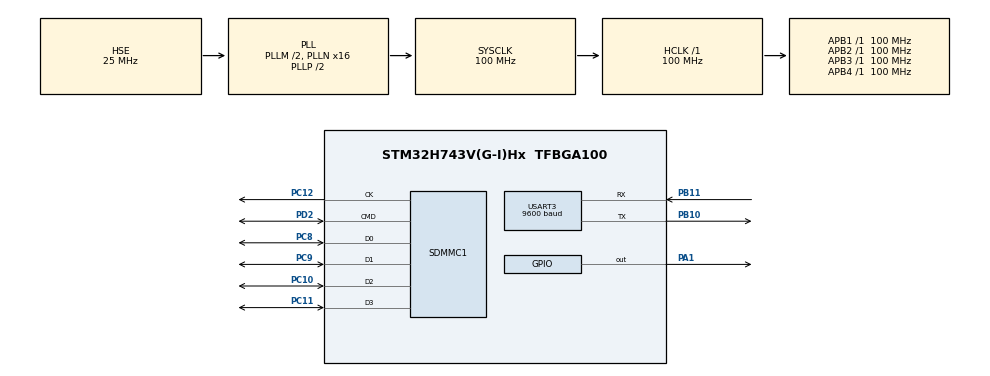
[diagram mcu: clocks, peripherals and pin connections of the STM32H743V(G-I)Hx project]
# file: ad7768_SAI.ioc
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FATFS._MAX_SS=4096
FATFS._USE_LFN=2
Mcu.Family=STM32H7
Mcu.Name=STM32H743V(G-I)Hx
Mcu.Package=TFBGA100
NVIC.PriorityGroup=NVIC_PRIORITYGROUP_4
PA1.Signal=GPIO_Output
PA13\ (JTMS/SWDIO).Mode=Serial_Wire
PA13\ (JTMS/SWDIO).Signal=DEBUG_JTMS-SWDIO
PA14\ (JTCK/SWCLK).Mode=Serial_Wire
PA14\ (JTCK/SWCLK).Signal=DEBUG_JTCK-SWCLK
PB10.Mode=Asynchronous
PB10.Signal=USART3_TX
PB11.Mode=Asynchronous
PB11.Signal=USART3_RX
PC10.Mode=SD_4_bits_Wide_bus
PC10.Signal=SDMMC1_D2
PC11.Mode=SD_4_bits_Wide_bus
PC11.Signal=SDMMC1_D3
PC12.Mode=SD_4_bits_Wide_bus
PC12.Signal=SDMMC1_CK
PC8.Mode=SD_4_bits_Wide_bus
PC8.Signal=SDMMC1_D0
PC9.Mode=SD_4_bits_Wide_bus
PC9.Signal=SDMMC1_D1
PD2.Mode=SD_4_bits_Wide_bus
PD2.Signal=SDMMC1_CMD
PH0-OSC_IN\ (PH0).Mode=HSE-External-Oscillator
PH0-OSC_IN\ (PH0).Signal=RCC_OSC_IN
PH1-OSC_OUT\ (PH1).Mode=HSE-External-Oscillator
PH1-OSC_OUT\ (PH1).Signal=RCC_OSC_OUT
ProjectManager.HeapSize=0x200
ProjectManager.StackSize=0x400
ProjectManager.TargetToolchain=MDK-ARM V5.32
RCC.ADCFreq_Value=50390625
RCC.APB1Freq_Value=100000000
RCC.APB2Freq_Value=100000000
RCC.APB3Freq_Value=100000000
RCC.APB4Freq_Value=100000000
RCC.CortexFreq_Value=100000000
RCC.DIVM1=2
RCC.DIVM3=36
RCC.DIVN1=16
RCC.DIVQ1=25
RCC.DIVR1=8
RCC.HCLKFreq_Value=100000000
RCC.I2C123CLockSelection=RCC_I2C123CLKSOURCE_CSI
RCC.PLL2FRACN=0
RCC.PLL2_VCI_Range-AdvancedSettings=RCC_PLL2VCIRANGE_0
RCC.PLL2_VCO_SEL-AdvancedSettings=RCC_PLL2VCOMEDIUM
RCC.PLL3FRACN=0
RCC.PLLFRACN=0
RCC.PLLSourceVirtual=RCC_PLLSOURCE_HSE
RCC.SYSCLKFreq_VALUE=100000000
RCC.SYSCLKSource=RCC_SYSCLKSOURCE_PLLCLK
RCC.Spi45ClockSelection=RCC_SPI45CLKSOURCE_HSE
RCC.USART234578CLockSelection=RCC_USART234578CLKSOURCE_CSI
RCC.USBFreq_Value=8000000
SDMMC1.ClockDiv=8
USART3.BaudRate=9600
USART3.VirtualMode-Asynchronous=VM_ASYNC
VP_FATFS_VS_SDIO.Mode=SDIO
board=custom

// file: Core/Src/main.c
/* USER CODE BEGIN Header */
/**
  ******************************************************************************
  * @file           : main.c
  * @brief          : Main program body
  ******************************************************************************
  * @attention
  *
  * Copyright (c) 2024 STMicroelectronics.
  * All rights reserved.
  *
  * This software is licensed under terms that can be found in the LICENSE file
  * in the root directory of this software component.
  * If no LICENSE file comes with this software, it is provided AS-IS.
  *
  ******************************************************************************
  */
/* USER CODE END Header */
#include "main.h"
#include "fatfs.h"

/* USER CODE BEGIN Includes */
#include "stdio.h"
#include "string.h"
/* USER CODE END Includes */

SD_HandleTypeDef hsd1;

UART_HandleTypeDef huart3;

void SystemClock_Config(void);
static void MX_GPIO_Init(void);
static void MX_SDMMC1_SD_Init(void);
static void MX_USART3_UART_Init(void);

/* USER CODE BEGIN 0 */
char TxBuffer[250];
FIL Fil;
    FRESULT FR_Status,Open_Status;
    FATFS *FS_Ptr;
    UINT RWC, WWC; // Read/Write Word Counter
    DWORD FreeClusters;
    uint32_t TotalSize, FreeSpace;
    char RW_Buffer[250];
static void SDIO_SDCard_Test(void)
{

    do
    {
        //------------------[ Mount The SD Card ]--------------------
        FR_Status = f_mount(&SDFatFS,SDPath, 1);
        if (FR_Status != FR_OK)
        {
            sprintf(TxBuffer, "Error! While Mounting SD Card, Error Code: (%i)\r\n", FR_Status);
            HAL_UART_Transmit(&huart3,(uint8_t *) TxBuffer,strlen(TxBuffer),HAL_MAX_DELAY);
            break;
        }
        sprintf(TxBuffer, "SD Card Mounted Successfully! \r\n\n");
        HAL_UART_Transmit(&huart3,(uint8_t *) TxBuffer,strlen(TxBuffer),HAL_MAX_DELAY);

        //------------------[ Get & Print The SD Card Size & Free Space ]--------------------
        f_getfree("", &FreeClusters, &FS_Ptr);
        TotalSize = (uint32_t)((FS_Ptr->n_fatent - 2) * FS_Ptr->csize * 0.5);
        FreeSpace = (uint32_t)(FreeClusters * FS_Ptr->csize * 0.5);
        sprintf(TxBuffer, "Total SD Card Size: %u Bytes\r\n", TotalSize);
        HAL_UART_Transmit(&huart3,(uint8_t *) TxBuffer,strlen(TxBuffer),HAL_MAX_DELAY);
        sprintf(TxBuffer, "Free SD Card Space: %u Bytes\r\n\n", FreeSpace);
        HAL_UART_Transmit(&huart3,(uint8_t *) TxBuffer,strlen(TxBuffer),HAL_MAX_DELAY);
        //------------------[ Open A Text File For Write & Write Data ]--------------------
        //Open the file
        Open_Status = f_open(&Fil, "MyTextFile.txt", FA_WRITE | FA_READ | FA_CREATE_ALWAYS);
        if(Open_Status != FR_OK)
        {
            sprintf(TxBuffer, "Error! While Creating/Opening A New Text File, Error Code: (%i)\r\n", Open_Status);
            HAL_UART_Transmit(&huart3,(uint8_t *) TxBuffer,strlen(TxBuffer),HAL_MAX_DELAY);
            break;
        }
        sprintf(TxBuffer, "Text File Created & Opened! Writing Data To The Text File..\r\n\n");
        HAL_UART_Transmit(&huart3,(uint8_t *) TxBuffer,strlen(TxBuffer),HAL_MAX_DELAY);
        // (1) Write Data To The Text File [ Using f_puts() Function ]
        f_puts("Hello! From STM32 To SD Card Over SDMMC, Using f_puts()\n", &Fil);
        // (2) Write Data To The Text File [ Using f_write() Function ]
        strcpy(RW_Buffer, "Hello! From STM32 To SD Card Over SDMMC, Using f_write()\r\n");
        f_write(&Fil, RW_Buffer, strlen(RW_Buffer), &WWC);
        // Close The File
        f_close(&Fil);
        //------------------[ Open A Text File For Read & Read Its Data ]--------------------
        // Open The File
        Open_Status = f_open(&Fil, "MyTextFile.txt", FA_READ);
        if(FR_Status != FR_OK)
        {
            sprintf(TxBuffer, "Error! While Opening (MyTextFile.txt) File For Read.. \r\n");
            HAL_UART_Transmit(&huart3,(uint8_t *) TxBuffer,strlen(TxBuffer),HAL_MAX_DELAY);
            break;
        }
        // (1) Read The Text File's Data [ Using f_gets() Function ]
        f_gets(RW_Buffer, sizeof(RW_Buffer), &Fil);
        sprintf(TxBuffer, "Data Read From (MyTextFile.txt) Using f_gets():%s", RW_Buffer);
        HAL_UART_Transmit(&huart3,(uint8_t *) TxBuffer,strlen(TxBuffer),HAL_MAX_DELAY);
        // (2) Read The Text File's Data [ Using f_read() Function ]
        f_read(&Fil, RW_Buffer, f_size(&Fil), &RWC);
        sprintf(TxBuffer, "Data Read From (MyTextFile.txt) Using f_read():%s", RW_Buffer);
        HAL_UART_Transmit(&huart3,(uint8_t *) TxBuffer,strlen(TxBuffer),HAL_MAX_DELAY);
        // Close The File
        f_close(&Fil);
        sprintf(TxBuffer, "File Closed! \r\n\n");
        HAL_UART_Transmit(&huart3,(uint8_t *) TxBuffer,strlen(TxBuffer),HAL_MAX_DELAY);
        //------------------[ Open An Existing Text File, Update Its Content, Read It Back ]--------------------
        // (1) Open The Existing File For Write (Update)
        Open_Status = f_open(&Fil, "MyTextFile.txt", FA_OPEN_EXISTING | FA_WRITE);
        FR_Status = f_lseek(&Fil, f_size(&Fil)); // Move The File Pointer To The EOF (End-Of-File)
        if(FR_Status != FR_OK)
        {
            sprintf(TxBuffer, "Error! While Opening (MyTextFile.txt) File For Update.. \r\n");
            HAL_UART_Transmit(&huart3,(uint8_t *) TxBuffer,strlen(TxBuffer),HAL_MAX_DELAY);
            break;
        }
        // (2) Write New Line of Text Data To The File
        FR_Status = f_puts("This New Line Was Added During File Update!\r\n", &Fil);
        f_close(&Fil);
        memset(RW_Buffer,'\0',sizeof(RW_Buffer)); // Clear The Buffer
        // (3) Read The Contents of The Text File After The Update
        FR_Status = f_open(&Fil, "MyTextFile.txt", FA_READ); // Open The File For Read
        f_read(&Fil, RW_Buffer, f_size(&Fil), &RWC);
        sprintf(TxBuffer, "Data Read From (MyTextFile.txt) After Update:\r\n%s", RW_Buffer);
        HAL_UART_Transmit(&huart3,(uint8_t *) TxBuffer,strlen(TxBuffer),HAL_MAX_DELAY);
        f_close(&Fil);
        //------------------[ Delete The Text File ]--------------------
        // Delete The File

        FR_Status = f_unlink("MyTextFile.txt");
        if (FR_Status != FR_OK) {
            sprintf(TxBuffer, "Error! While Deleting The (MyTextFile.txt) File.. \r\n");
            HAL_UART_Transmit(&huart3,(uint8_t *) TxBuffer,strlen(TxBuffer),HAL_MAX_DELAY);
        }

    } while(0);
    //------------------[ Test Complete! Unmount The SD Card ]--------------------
    FR_Status = f_mount(NULL, "", 0);
    if (FR_Status != FR_OK)
    {
        sprintf(TxBuffer, "\r\nError! While Un-mounting SD Card, Error Code: (%i)\r\n", FR_Status);
        HAL_UART_Transmit(&huart3,(uint8_t *) TxBuffer,strlen(TxBuffer),HAL_MAX_DELAY);
    } else {
        sprintf(TxBuffer, "\r\nSD Card Un-mounted Successfully! \r\n");
        HAL_UART_Transmit(&huart3,(uint8_t *) TxBuffer,strlen(TxBuffer),HAL_MAX_DELAY);
    }
}
/* USER CODE END 0 */

int main(void)
{

  /* MCU Configuration--------------------------------------------------------*/

  /* Reset of all peripherals, Initializes the Flash interface and the Systick. */
  HAL_Init();

  /* Configure the system clock */
  SystemClock_Config();

  /* Initialize all configured peripherals */
  MX_GPIO_Init();
  MX_SDMMC1_SD_Init();
  MX_FATFS_Init();
  MX_USART3_UART_Init();
  /* USER CODE BEGIN 2 */
	HAL_Delay(5000);
	SDIO_SDCard_Test();
  /* USER CODE END 2 */

  /* Infinite loop */
    while (1)
    {

}
}
void SystemClock_Config(void)
{
  RCC_OscInitTypeDef RCC_OscInitStruct = {0};
  RCC_ClkInitTypeDef RCC_ClkInitStruct = {0};

  /** Supply configuration update enable
  */
  HAL_PWREx_ConfigSupply(PWR_LDO_SUPPLY);

  /** Configure the main internal regulator output voltage
  */
  __HAL_PWR_VOLTAGESCALING_CONFIG(PWR_REGULATOR_VOLTAGE_SCALE3);

  while(!__HAL_PWR_GET_FLAG(PWR_FLAG_VOSRDY)) {}

  /** Initializes the RCC Oscillators according to the specified parameters
  * in the RCC_OscInitTypeDef structure.
  */
  RCC_OscInitStruct.OscillatorType = RCC_OSCILLATORTYPE_CSI|RCC_OSCILLATORTYPE_HSE;
  RCC_OscInitStruct.HSEState = RCC_HSE_ON;
  RCC_OscInitStruct.CSIState = RCC_CSI_ON;
  RCC_OscInitStruct.CSICalibrationValue = RCC_CSICALIBRATION_DEFAULT;
  RCC_OscInitStruct.PLL.PLLState = RCC_PLL_ON;
  RCC_OscInitStruct.PLL.PLLSource = RCC_PLLSOURCE_HSE;
  RCC_OscInitStruct.PLL.PLLM = 2;
  RCC_OscInitStruct.PLL.PLLN = 16;
  RCC_OscInitStruct.PLL.PLLP = 2;
  RCC_OscInitStruct.PLL.PLLQ = 25;
  RCC_OscInitStruct.PLL.PLLR = 8;
  RCC_OscInitStruct.PLL.PLLRGE = RCC_PLL1VCIRANGE_3;
  RCC_OscInitStruct.PLL.PLLVCOSEL = RCC_PLL1VCOWIDE;
  RCC_OscInitStruct.PLL.PLLFRACN = 0;
  if (HAL_RCC_OscConfig(&RCC_OscInitStruct) != HAL_OK)
  {
    Error_Handler();
  }

  /** Initializes the CPU, AHB and APB buses clocks
  */
  RCC_ClkInitStruct.ClockType = RCC_CLOCKTYPE_HCLK|RCC_CLOCKTYPE_SYSCLK
                              |RCC_CLOCKTYPE_PCLK1|RCC_CLOCKTYPE_PCLK2
                              |RCC_CLOCKTYPE_D3PCLK1|RCC_CLOCKTYPE_D1PCLK1;
  RCC_ClkInitStruct.SYSCLKSource = RCC_SYSCLKSOURCE_PLLCLK;
  RCC_ClkInitStruct.SYSCLKDivider = RCC_SYSCLK_DIV1;
  RCC_ClkInitStruct.AHBCLKDivider = RCC_HCLK_DIV1;
  RCC_ClkInitStruct.APB3CLKDivider = RCC_APB3_DIV1;
  RCC_ClkInitStruct.APB1CLKDivider = RCC_APB1_DIV1;
  RCC_ClkInitStruct.APB2CLKDivider = RCC_APB2_DIV1;
  RCC_ClkInitStruct.APB4CLKDivider = RCC_APB4_DIV1;

  if (HAL_RCC_ClockConfig(&RCC_ClkInitStruct, FLASH_LATENCY_2) != HAL_OK)
  {
    Error_Handler();
  }
}

static void MX_SDMMC1_SD_Init(void)
{

  hsd1.Instance = SDMMC1;
  hsd1.Init.ClockEdge = SDMMC_CLOCK_EDGE_RISING;
  hsd1.Init.ClockPowerSave = SDMMC_CLOCK_POWER_SAVE_DISABLE;
  hsd1.Init.BusWide = SDMMC_BUS_WIDE_4B;
  hsd1.Init.HardwareFlowControl = SDMMC_HARDWARE_FLOW_CONTROL_DISABLE;
  hsd1.Init.ClockDiv = 8;

}

static void MX_USART3_UART_Init(void)
{

  huart3.Instance = USART3;
  huart3.Init.BaudRate = 9600;
  huart3.Init.WordLength = UART_WORDLENGTH_8B;
  huart3.Init.StopBits = UART_STOPBITS_1;
  huart3.Init.Parity = UART_PARITY_NONE;
  huart3.Init.Mode = UART_MODE_TX_RX;
  huart3.Init.HwFlowCtl = UART_HWCONTROL_NONE;
  huart3.Init.OverSampling = UART_OVERSAMPLING_16;
  huart3.Init.OneBitSampling = UART_ONE_BIT_SAMPLE_DISABLE;
  huart3.Init.ClockPrescaler = UART_PRESCALER_DIV1;
  huart3.AdvancedInit.AdvFeatureInit = UART_ADVFEATURE_NO_INIT;
  if (HAL_UART_Init(&huart3) != HAL_OK)
  {
    Error_Handler();
  }
  if (HAL_UARTEx_SetTxFifoThreshold(&huart3, UART_TXFIFO_THRESHOLD_1_8) != HAL_OK)
  {
    Error_Handler();
  }
  if (HAL_UARTEx_SetRxFifoThreshold(&huart3, UART_RXFIFO_THRESHOLD_1_8) != HAL_OK)
  {
    Error_Handler();
  }
  if (HAL_UARTEx_DisableFifoMode(&huart3) != HAL_OK)
  {
    Error_Handler();
  }

}

static void MX_GPIO_Init(void)
{
  GPIO_InitTypeDef GPIO_InitStruct = {0};

  /* GPIO Ports Clock Enable */
  __HAL_RCC_GPIOA_CLK_ENABLE();
  __HAL_RCC_GPIOD_CLK_ENABLE();
  __HAL_RCC_GPIOC_CLK_ENABLE();
  __HAL_RCC_GPIOH_CLK_ENABLE();
  __HAL_RCC_GPIOB_CLK_ENABLE();

  /*Configure GPIO pin Output Level */
  HAL_GPIO_WritePin(GPIOA, GPIO_PIN_1, GPIO_PIN_RESET);

  /*Configure GPIO pin : PA1 */
  GPIO_InitStruct.Pin = GPIO_PIN_1;
  GPIO_InitStruct.Mode = GPIO_MODE_OUTPUT_PP;
  GPIO_InitStruct.Pull = GPIO_NOPULL;
  GPIO_InitStruct.Speed = GPIO_SPEED_FREQ_LOW;
  HAL_GPIO_Init(GPIOA, &GPIO_InitStruct);

}

void Error_Handler(void)
{
    __disable_irq();
    while (1)
    {
    }
}
